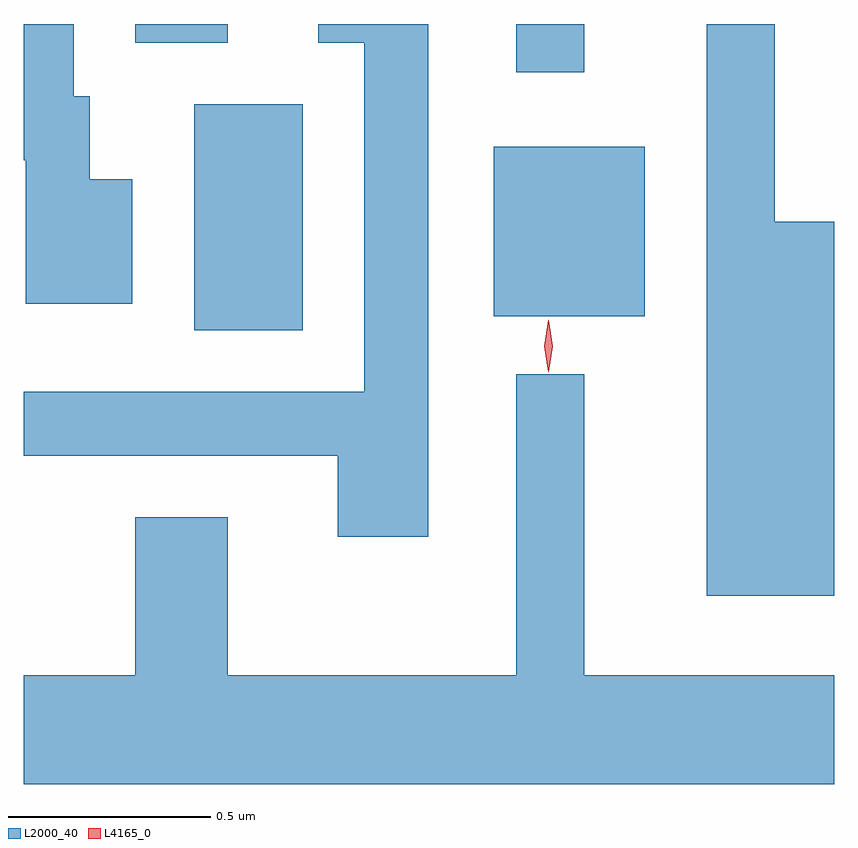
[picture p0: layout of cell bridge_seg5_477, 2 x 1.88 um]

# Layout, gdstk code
import gdstk
lib = gdstk.Library(unit=1e-6, precision=1e-09)
def R(c, l, rs):  # rectangles x0, y0, x1, y1
    for r in rs: c.add(gdstk.rectangle(r[:2], r[2:], *l))
def P(c, l, *ps):  # polygons
    for p in ps: c.add(gdstk.Polygon(p, *l))
L2000_40 = (2000, 40)
L4165_0 = (4165, 0)

bridge_seg5_477 = lib.new_cell('bridge_seg5_477')
R(bridge_seg5_477, L2000_40, [(261.916,1475.676,262.184,1476.234), (262.656,1475.711,263.029,1476.129), (262.711,1476.313,262.879,1476.432), (261.771,1476.386,261.999,1476.432)])
P(bridge_seg5_477, L2000_40, [(262.494,1476.432),(262.223,1476.432),(262.223,1476.386),(262.336,1476.386),(262.336,1475.524),(261.496,1475.524),(261.496,1475.366),(262.271,1475.366),(262.271,1475.166),(262.494,1475.166)],
  [(261.764,1476.049),(261.659,1476.049),(261.659,1476.254),(261.619,1476.254),(261.619,1476.432),(261.496,1476.432),(261.496,1476.096),(261.501,1476.096),(261.501,1475.741),(261.764,1475.741)],
  [(263.496,1475.944),(263.349,1475.944),(263.349,1476.432),(263.181,1476.432),(263.181,1475.021),(263.496,1475.021)],
  [(263.496,1474.824),(262.879,1474.824),(262.879,1475.568),(262.711,1475.568),(262.711,1474.824),(261.999,1474.824),(261.999,1475.214),(261.771,1475.214),(261.771,1474.824),(261.496,1474.824),(261.496,1474.556),(263.496,1474.556)])
P(bridge_seg5_477, L4165_0, [(262.791,1475.572),(262.79,1475.573),(262.781,1475.637),(262.79,1475.701),(262.791,1475.702),(262.791,1475.701),(262.801,1475.637),(262.791,1475.573)])

lib.write_gds('bridge_seg5_477.gds')
